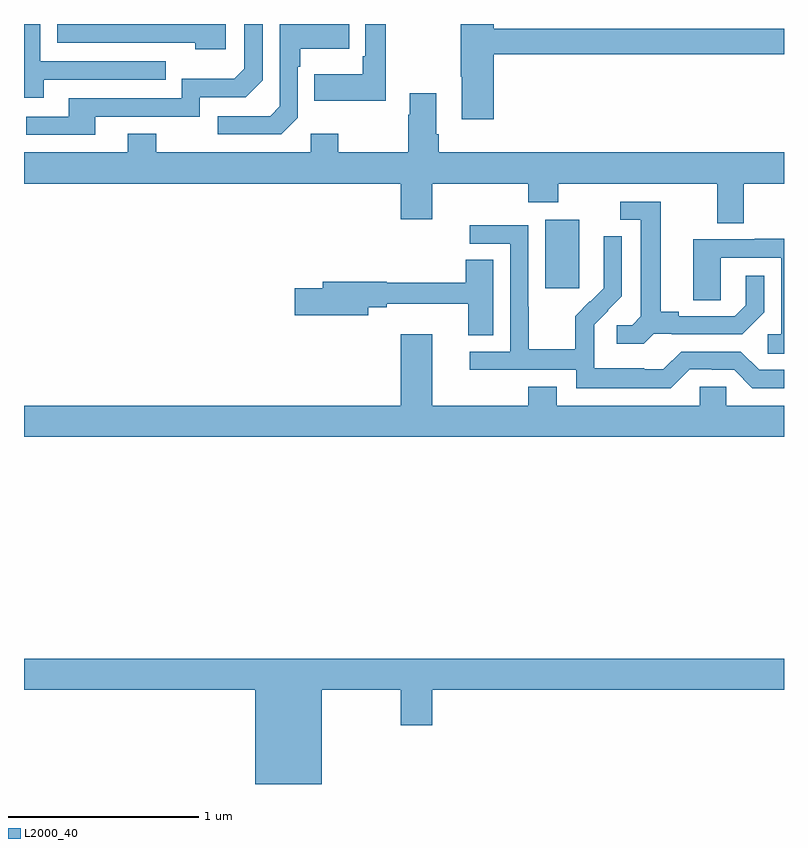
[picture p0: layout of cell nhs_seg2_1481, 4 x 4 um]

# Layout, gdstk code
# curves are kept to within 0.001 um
import gdstk
lib = gdstk.Library(unit=1e-6, precision=1e-09)
def R(c, l, rs):  # rectangles x0, y0, x1, y1
    for r in rs: c.add(gdstk.rectangle(r[:2], r[2:], *l))
def P(c, l, *ps):  # polygons
    for p in ps: c.add(gdstk.Polygon(p, *l))
L2000_40 = (2000, 40)

nhs_seg2_1481 = lib.new_cell('nhs_seg2_1481')
R(nhs_seg2_1481, L2000_40, [(189.743,656.409,189.922,656.77)])
P(nhs_seg2_1481, L2000_40, [(189.473,657.64),(191,657.64),(191,657.776),(189.473,657.776),(189.473,657.8),(189.298,657.8),(189.298,657.523),(189.305,657.523),(189.305,657.3),(189.473,657.3)],
  [(187.375,657.312),(187.926,657.312),(187.926,657.414),(188.166,657.414),(188.256,657.504),(188.256,657.8),(188.16,657.8),(188.16,657.564),(188.107,657.511),(187.83,657.511),(187.83,657.408),(187.235,657.408),(187.235,657.312),(187.011,657.312),(187.011,657.216),(187.375,657.216)],
  [(188.442,657.306),(188.442,657.575),(188.455,657.575),(188.455,657.671),(188.711,657.671),(188.711,657.8),(188.346,657.8),(188.346,657.366),(188.295,657.315),(188.019,657.315),(188.019,657.219),(188.355,657.219)],
  [(188.062,657.798),(187.285,657.798),(187.285,657.8),(187.176,657.8),(187.176,657.702),(187.901,657.702),(187.901,657.668),(188.062,657.668)],
  [(188.905,657.8),(188.796,657.8),(188.796,657.631),(188.784,657.631),(188.784,657.535),(188.527,657.535),(188.527,657.395),(188.905,657.395)],
  [(187.105,657.507),(187.745,657.507),(187.745,657.603),(187.086,657.603),(187.086,657.8),(187,657.8),(187,657.413),(187.105,657.413)],
  [(189.169,657.22),(189.169,657.436),(189.029,657.436),(189.029,657.323),(189.022,657.323),(189.022,657.124),(188.655,657.124),(188.655,657.223),(188.508,657.223),(188.508,657.124),(187.695,657.124),(187.695,657.223),(187.547,657.223),(187.547,657.124),(187,657.124),(187,656.96),(188.984,656.96),(188.984,656.772),(189.148,656.772),(189.148,656.96),(189.653,656.96),(189.653,656.861),(189.813,656.861),(189.813,656.96),(190.649,656.96),(190.649,656.752),(190.789,656.752),(190.789,656.96),(191,656.96),(191,657.124),(189.182,657.124),(189.182,657.22)],
  [(190.314,656.169),(190.408,656.169),(190.408,656.166),(190.78,656.166),(190.896,656.282),(190.896,656.476),(190.799,656.476),(190.799,656.319),(190.742,656.262),(190.447,656.262),(190.447,656.285),(190.351,656.285),(190.351,656.865),(190.137,656.865),(190.137,656.769),(190.247,656.769),(190.247,656.261),(190.2,656.214),(190.119,656.214),(190.119,656.117),(190.262,656.117)],
  [(190.503,655.983),(190.619,655.983),(190.619,655.98),(190.737,655.98),(190.833,655.884),(191,655.884),(191,655.98),(190.869,655.98),(190.773,656.076),(190.458,656.076),(190.365,655.983),(190.265,655.983),(190.265,655.987),(190.002,655.987),(190.002,656.121),(190,656.121),(190,656.218),(190.146,656.366),(190.146,656.684),(190.05,656.684),(190.05,656.53),(190.052,656.53),(190.052,656.408),(189.981,656.337),(189.978,656.34),(189.901,656.263),(189.901,656.089),(189.657,656.089),(189.657,656.312),(189.654,656.312),(189.654,656.742),(189.345,656.742),(189.345,656.643),(189.558,656.643),(189.558,656.076),(189.345,656.076),(189.345,655.98),(189.906,655.98),(189.906,655.883),(190.403,655.883)],
  [(191,656.671),(190.847,656.671),(190.847,656.667),(190.523,656.667),(190.523,656.347),(190.668,656.347),(190.668,656.571),(190.986,656.571),(190.986,656.166),(190.914,656.166),(190.914,656.065),(191,656.065)],
  [(189.469,656.558),(189.326,656.558),(189.326,656.437),(188.908,656.437),(188.908,656.444),(188.573,656.444),(188.573,656.408),(188.424,656.408),(188.424,656.266),(188.812,656.266),(188.812,656.308),(188.908,656.308),(188.908,656.327),(189.338,656.327),(189.338,656.161),(189.469,656.161)],
  [(191,655.792),(190.695,655.792),(190.695,655.89),(190.557,655.89),(190.557,655.792),(189.805,655.792),(189.805,655.891),(189.653,655.891),(189.653,655.792),(189.148,655.792),(189.148,656.167),(188.984,656.167),(188.984,655.792),(187,655.792),(187,655.628),(191,655.628)],
  [(188.566,654.296),(188.984,654.296),(188.984,654.108),(189.148,654.108),(189.148,654.296),(191,654.296),(191,654.46),(187,654.46),(187,654.296),(188.216,654.296),(188.216,653.8),(188.566,653.8)])

lib.write_gds('nhs_seg2_1481.gds')
